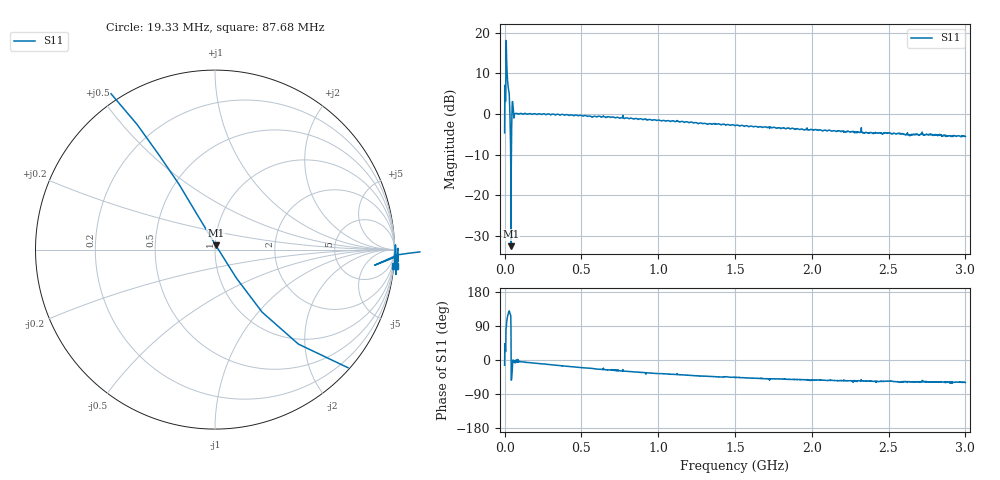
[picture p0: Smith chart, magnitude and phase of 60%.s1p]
# HZ S RI R 50
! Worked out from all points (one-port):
!   2020 points, 10 kHz to 3 GHz, reference 50 ohm
!   lowest |S11| = -32.5 dB at 41.61 MHz (marker M1), VSWR 1.05, Z = 50.4 + j2.35 ohm
!   |S11| at or under -10 dB: 39.28 MHz to 43.98 MHz (4.701 MHz wide, 11.3 % of centre)
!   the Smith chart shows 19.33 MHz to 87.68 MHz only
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10000  0.5709 -0.1415
2981758  1.348 0.9634
7439395  1.346 0.5714
1.635467e7  -1.044 3.019
1.932643e7  -1.097 2.324
2.378406e7  -1.126 1.773
2.526994e7  -1.135 1.654
2.675582e7  -1.142 1.551
2.82417e7  -1.153 1.471
3.121346e7  -0.9659 1.228
3.56711e7  -0.4339 0.6971
4.161461e7  0.00476 0.0233
4.755813e7  0.7409 -0.6581
5.350164e7  1.347 -0.0707
5.64734e7  1.141 -0.0128
5.795928e7  1.071 -0.0215
5.944516e7  1.018 -0.0292
6.39028e7  1.007 -0.0497
6.836043e7  1.008 -0.1388
7.578983e7  1.019 0.00723
3.759374e8  0.9576 -0.2658
7.503789e8  0.7795 -0.4247
1.126306e9  0.6397 -0.51
1.500748e9  0.4971 -0.5193
1.875189e9  0.4158 -0.5233
2.251117e9  0.3468 -0.493
2.625558e9  0.3053 -0.4715
3e9  0.2689 -0.4556
